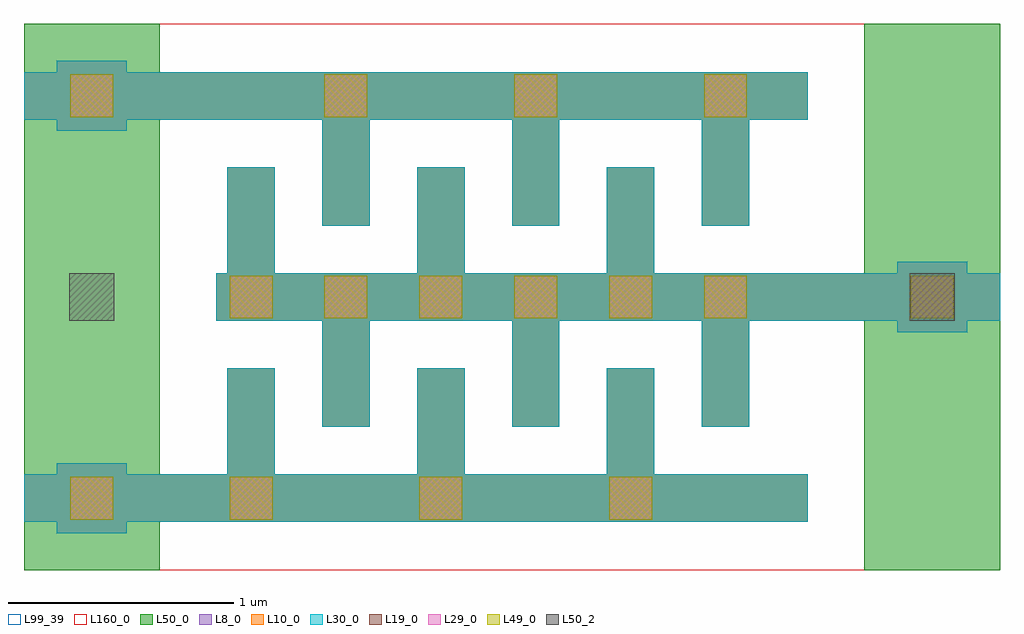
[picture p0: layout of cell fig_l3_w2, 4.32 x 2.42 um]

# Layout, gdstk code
import gdstk
lib = gdstk.Library(unit=1e-6, precision=1e-09)
def R(c, l, rs):  # rectangles x0, y0, x1, y1
    for r in rs: c.add(gdstk.rectangle(r[:2], r[2:], *l))
def A(c, l, x, y, w, h, nx, ny, dx, dy):  # array of equal rectangles
    R(c, l, [(x+i*dx, y+j*dy, x+i*dx+w, y+j*dy+h) for i in range(nx) for j in range(ny)])
L8_0 = (8, 0)
L10_0 = (10, 0)
L19_0 = (19, 0)
L29_0 = (29, 0)
L30_0 = (30, 0)
L49_0 = (49, 0)
L50_0 = (50, 0)
L50_2 = (50, 2)
L99_39 = (99, 39)
L160_0 = (160, 0)

fig_l3_w2 = lib.new_cell('fig_l3_w2')
A(fig_l3_w2, L8_0, 0, 0, 0.21, 0.575, 3, 2, 0.84, 0.89)
A(fig_l3_w2, L8_0, 0.42, 0.315, 0.21, 0.575, 3, 2, 0.84, 0.89)
R(fig_l3_w2, L8_0, [(-0.755,-0.155,-0.445,0.155), (-0.9,-0.105,2.57,0.105), (2.965,0.735,3.275,1.045), (-0.05,0.785,3.42,0.995), (-0.755,1.625,-0.445,1.935), (-0.9,1.675,2.57,1.885)])
A(fig_l3_w2, L10_0, 0, 0, 0.21, 0.575, 3, 2, 0.84, 0.89)
A(fig_l3_w2, L10_0, 0.42, 0.315, 0.21, 0.575, 3, 2, 0.84, 0.89)
R(fig_l3_w2, L10_0, [(-0.755,-0.155,-0.445,0.155), (-0.9,-0.105,2.57,0.105), (2.965,0.735,3.275,1.045), (-0.05,0.785,3.42,0.995), (-0.755,1.625,-0.445,1.935), (-0.9,1.675,2.57,1.885)])
A(fig_l3_w2, L19_0, 0.01, -0.095, 0.19, 0.19, 3, 1, 0.84, 0)
A(fig_l3_w2, L19_0, 0.01, 0.795, 0.19, 0.19, 6, 1, 0.42, 0)
A(fig_l3_w2, L19_0, 0.43, 1.685, 0.19, 0.19, 3, 1, 0.84, 0)
R(fig_l3_w2, L19_0, [(-0.695,-0.095,-0.505,0.095), (3.025,0.795,3.215,0.985), (-0.695,1.685,-0.505,1.875)])
A(fig_l3_w2, L29_0, 0.01, -0.095, 0.19, 0.19, 3, 1, 0.84, 0)
A(fig_l3_w2, L29_0, 0.01, 0.795, 0.19, 0.19, 6, 1, 0.42, 0)
A(fig_l3_w2, L29_0, 0.43, 1.685, 0.19, 0.19, 3, 1, 0.84, 0)
R(fig_l3_w2, L29_0, [(-0.695,-0.095,-0.505,0.095), (3.025,0.795,3.215,0.985), (-0.695,1.685,-0.505,1.875)])
A(fig_l3_w2, L30_0, 0, 0, 0.21, 0.575, 3, 2, 0.84, 0.89)
A(fig_l3_w2, L30_0, 0.42, 0.315, 0.21, 0.575, 3, 2, 0.84, 0.89)
R(fig_l3_w2, L30_0, [(-0.755,-0.155,-0.445,0.155), (-0.9,-0.105,2.57,0.105), (2.965,0.735,3.275,1.045), (-0.05,0.785,3.42,0.995), (-0.755,1.625,-0.445,1.935), (-0.9,1.675,2.57,1.885)])
A(fig_l3_w2, L49_0, 0.01, -0.095, 0.19, 0.19, 3, 1, 0.84, 0)
A(fig_l3_w2, L49_0, 0.01, 0.795, 0.19, 0.19, 6, 1, 0.42, 0)
A(fig_l3_w2, L49_0, 0.43, 1.685, 0.19, 0.19, 3, 1, 0.84, 0)
R(fig_l3_w2, L49_0, [(-0.695,-0.095,-0.505,0.095), (3.025,0.795,3.215,0.985), (-0.695,1.685,-0.505,1.875)])
A(fig_l3_w2, L50_0, 0, 0, 0.21, 0.575, 3, 2, 0.84, 0.89)
A(fig_l3_w2, L50_0, 0.42, 0.315, 0.21, 0.575, 3, 2, 0.84, 0.89)
R(fig_l3_w2, L50_0, [(-0.9,-0.32,-0.3,2.1), (2.82,-0.32,3.42,2.1), (-0.9,-0.105,2.57,0.105), (-0.05,0.785,3.42,0.995), (-0.9,1.675,2.57,1.885)])
R(fig_l3_w2, L50_2, [(-0.7,0.785,-0.5,0.995), (3.02,0.785,3.22,0.995)])
R(fig_l3_w2, L99_39, [(-0.9,-0.32,3.42,2.1)])
R(fig_l3_w2, L160_0, [(-0.9,-0.32,3.42,2.1)])
fig_l3_w2.add(gdstk.Label('cap_cmomi C=2.445fF', (-0.9,-0.82), layer=63, texttype=0))

lib.write_gds('fig_l3_w2.gds')
